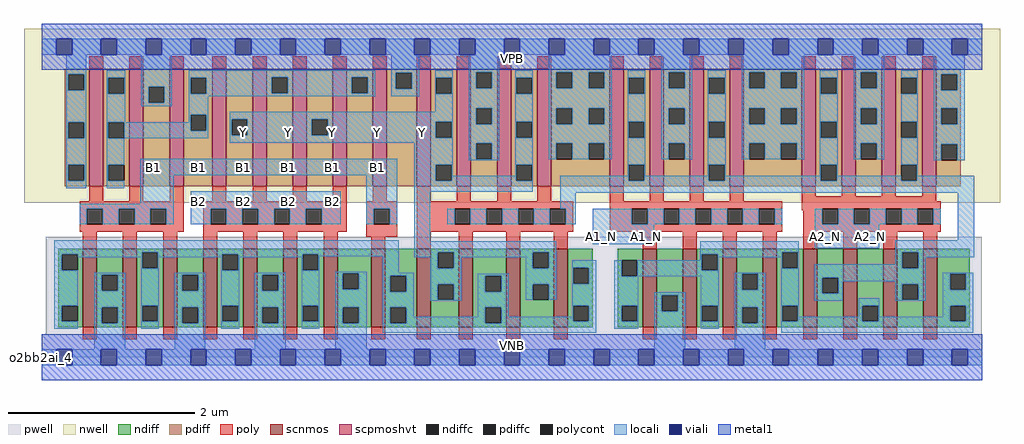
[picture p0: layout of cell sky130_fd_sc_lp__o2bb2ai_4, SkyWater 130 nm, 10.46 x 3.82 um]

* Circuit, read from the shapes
.subckt sky130_fd_sc_lp__o2bb2ai_4 A1_N A2_N B1 B2 VGND VNB VPB VPWR Y
XM1 VGND B1 n1 VNB sky130_fd_pr__nfet_01v8 w=0.84 l=0.15 m=4
XM2 n1 B2 VGND VNB sky130_fd_pr__nfet_01v8 w=0.84 l=0.15 m=4
XM3 Y n2 n1 VNB sky130_fd_pr__nfet_01v8 w=0.84 l=0.15 m=4
XM4 VGND A1_N n3 VNB sky130_fd_pr__nfet_01v8 w=0.84 l=0.15 m=4
XM5 n2 A2_N n3 VNB sky130_fd_pr__nfet_01v8 w=0.84 l=0.15 m=4
XM6 n4 B1 VPWR VPB sky130_fd_pr__pfet_01v8_hvt w=1.26 l=0.15 m=4
XM7 Y B2 n4 VPB sky130_fd_pr__pfet_01v8_hvt w=1.26 l=0.15 m=4
XM8 Y n2 VPWR VPB sky130_fd_pr__pfet_01v8_hvt w=1.26 l=0.15 m=4
XM9 n2 A1_N VPWR VPB sky130_fd_pr__pfet_01v8_hvt w=1.26 l=0.15 m=4
XM10 n2 A2_N VPWR VPB sky130_fd_pr__pfet_01v8_hvt w=1.26 l=0.15 m=4
.ends

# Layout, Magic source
magic
tech sky130A
magscale 1 2
<< nwell >>
rect -38 331 2054 704
<< pwell >>
rect 9 49 2015 259
rect 0 0 2016 49
<< scnmos >>
rect 88 65 118 233
rect 174 65 204 233
rect 260 65 290 233
rect 346 65 376 233
rect 432 65 462 233
rect 518 65 548 233
rect 604 65 634 233
rect 706 65 736 233
rect 804 65 834 233
rect 894 65 924 233
rect 996 65 1026 233
rect 1098 65 1128 233
rect 1288 65 1318 233
rect 1374 65 1404 233
rect 1460 65 1490 233
rect 1546 65 1576 233
rect 1632 65 1662 233
rect 1718 65 1748 233
rect 1804 65 1834 233
rect 1890 65 1920 233
<< scpmoshvt >>
rect 102 367 132 619
rect 188 367 218 619
rect 274 367 304 619
rect 366 367 396 619
rect 452 367 482 619
rect 538 367 568 619
rect 624 367 654 619
rect 710 367 740 619
rect 804 367 834 619
rect 890 367 920 619
rect 976 367 1006 619
rect 1062 367 1092 619
rect 1217 367 1247 619
rect 1303 367 1333 619
rect 1389 367 1419 619
rect 1475 367 1505 619
rect 1629 367 1659 619
rect 1715 367 1745 619
rect 1801 367 1831 619
rect 1887 367 1917 619
<< ndiff >>
rect 35 221 88 233
rect 35 187 43 221
rect 77 187 88 221
rect 35 111 88 187
rect 35 77 43 111
rect 77 77 88 111
rect 35 65 88 77
rect 118 177 174 233
rect 118 143 129 177
rect 163 143 174 177
rect 118 107 174 143
rect 118 73 129 107
rect 163 73 174 107
rect 118 65 174 73
rect 204 225 260 233
rect 204 191 215 225
rect 249 191 260 225
rect 204 111 260 191
rect 204 77 215 111
rect 249 77 260 111
rect 204 65 260 77
rect 290 177 346 233
rect 290 143 301 177
rect 335 143 346 177
rect 290 107 346 143
rect 290 73 301 107
rect 335 73 346 107
rect 290 65 346 73
rect 376 221 432 233
rect 376 187 387 221
rect 421 187 432 221
rect 376 111 432 187
rect 376 77 387 111
rect 421 77 432 111
rect 376 65 432 77
rect 462 177 518 233
rect 462 143 473 177
rect 507 143 518 177
rect 462 107 518 143
rect 462 73 473 107
rect 507 73 518 107
rect 462 65 518 73
rect 548 221 604 233
rect 548 187 559 221
rect 593 187 604 221
rect 548 111 604 187
rect 548 77 559 111
rect 593 77 604 111
rect 548 65 604 77
rect 634 180 706 233
rect 634 146 645 180
rect 679 146 706 180
rect 634 107 706 146
rect 634 73 645 107
rect 679 73 706 107
rect 634 65 706 73
rect 736 175 804 233
rect 736 141 747 175
rect 781 141 804 175
rect 736 107 804 141
rect 736 73 747 107
rect 781 73 804 107
rect 736 65 804 73
rect 834 225 894 233
rect 834 191 849 225
rect 883 191 894 225
rect 834 157 894 191
rect 834 123 849 157
rect 883 123 894 157
rect 834 65 894 123
rect 924 175 996 233
rect 924 141 951 175
rect 985 141 996 175
rect 924 107 996 141
rect 924 73 951 107
rect 985 73 996 107
rect 924 65 996 73
rect 1026 225 1098 233
rect 1026 191 1053 225
rect 1087 191 1098 225
rect 1026 157 1098 191
rect 1026 123 1053 157
rect 1087 123 1098 157
rect 1026 65 1098 123
rect 1128 192 1181 233
rect 1128 158 1139 192
rect 1173 158 1181 192
rect 1128 111 1181 158
rect 1128 77 1139 111
rect 1173 77 1181 111
rect 1128 65 1181 77
rect 1235 208 1288 233
rect 1235 174 1243 208
rect 1277 174 1288 208
rect 1235 111 1288 174
rect 1235 77 1243 111
rect 1277 77 1288 111
rect 1235 65 1288 77
rect 1318 133 1374 233
rect 1318 99 1329 133
rect 1363 99 1374 133
rect 1318 65 1374 99
rect 1404 221 1460 233
rect 1404 187 1415 221
rect 1449 187 1460 221
rect 1404 111 1460 187
rect 1404 77 1415 111
rect 1449 77 1460 111
rect 1404 65 1460 77
rect 1490 179 1546 233
rect 1490 145 1501 179
rect 1535 145 1546 179
rect 1490 107 1546 145
rect 1490 73 1501 107
rect 1535 73 1546 107
rect 1490 65 1546 73
rect 1576 225 1632 233
rect 1576 191 1587 225
rect 1621 191 1632 225
rect 1576 111 1632 191
rect 1576 77 1587 111
rect 1621 77 1632 111
rect 1576 65 1632 77
rect 1662 171 1718 233
rect 1662 137 1673 171
rect 1707 137 1718 171
rect 1662 65 1718 137
rect 1748 111 1804 233
rect 1748 77 1759 111
rect 1793 77 1804 111
rect 1748 65 1804 77
rect 1834 225 1890 233
rect 1834 191 1845 225
rect 1879 191 1890 225
rect 1834 157 1890 191
rect 1834 123 1845 157
rect 1879 123 1890 157
rect 1834 65 1890 123
rect 1920 179 1989 233
rect 1920 145 1947 179
rect 1981 145 1989 179
rect 1920 111 1989 145
rect 1920 77 1947 111
rect 1981 77 1989 111
rect 1920 65 1989 77
<< pdiff >>
rect 49 607 102 619
rect 49 573 57 607
rect 91 573 102 607
rect 49 504 102 573
rect 49 470 57 504
rect 91 470 102 504
rect 49 413 102 470
rect 49 379 57 413
rect 91 379 102 413
rect 49 367 102 379
rect 132 599 188 619
rect 132 565 143 599
rect 177 565 188 599
rect 132 504 188 565
rect 132 470 143 504
rect 177 470 188 504
rect 132 413 188 470
rect 132 379 143 413
rect 177 379 188 413
rect 132 367 188 379
rect 218 580 274 619
rect 218 546 229 580
rect 263 546 274 580
rect 218 367 274 546
rect 304 599 366 619
rect 304 565 319 599
rect 353 565 366 599
rect 304 520 366 565
rect 304 486 319 520
rect 353 486 366 520
rect 304 367 366 486
rect 396 510 452 619
rect 396 476 407 510
rect 441 476 452 510
rect 396 367 452 476
rect 482 600 538 619
rect 482 566 493 600
rect 527 566 538 600
rect 482 367 538 566
rect 568 510 624 619
rect 568 476 579 510
rect 613 476 624 510
rect 568 367 624 476
rect 654 600 710 619
rect 654 566 665 600
rect 699 566 710 600
rect 654 367 710 566
rect 740 610 804 619
rect 740 576 759 610
rect 793 576 804 610
rect 740 367 804 576
rect 834 599 890 619
rect 834 565 845 599
rect 879 565 890 599
rect 834 505 890 565
rect 834 471 845 505
rect 879 471 890 505
rect 834 413 890 471
rect 834 379 845 413
rect 879 379 890 413
rect 834 367 890 379
rect 920 611 976 619
rect 920 577 931 611
rect 965 577 976 611
rect 920 534 976 577
rect 920 500 931 534
rect 965 500 976 534
rect 920 459 976 500
rect 920 425 931 459
rect 965 425 976 459
rect 920 367 976 425
rect 1006 599 1062 619
rect 1006 565 1017 599
rect 1051 565 1062 599
rect 1006 505 1062 565
rect 1006 471 1017 505
rect 1051 471 1062 505
rect 1006 413 1062 471
rect 1006 379 1017 413
rect 1051 379 1062 413
rect 1006 367 1062 379
rect 1092 611 1217 619
rect 1092 577 1103 611
rect 1137 577 1172 611
rect 1206 577 1217 611
rect 1092 534 1217 577
rect 1092 500 1103 534
rect 1137 500 1172 534
rect 1206 500 1217 534
rect 1092 459 1217 500
rect 1092 425 1103 459
rect 1137 425 1172 459
rect 1206 425 1217 459
rect 1092 367 1217 425
rect 1247 599 1303 619
rect 1247 565 1258 599
rect 1292 565 1303 599
rect 1247 505 1303 565
rect 1247 471 1258 505
rect 1292 471 1303 505
rect 1247 413 1303 471
rect 1247 379 1258 413
rect 1292 379 1303 413
rect 1247 367 1303 379
rect 1333 611 1389 619
rect 1333 577 1344 611
rect 1378 577 1389 611
rect 1333 534 1389 577
rect 1333 500 1344 534
rect 1378 500 1389 534
rect 1333 459 1389 500
rect 1333 425 1344 459
rect 1378 425 1389 459
rect 1333 367 1389 425
rect 1419 599 1475 619
rect 1419 565 1430 599
rect 1464 565 1475 599
rect 1419 505 1475 565
rect 1419 471 1430 505
rect 1464 471 1475 505
rect 1419 413 1475 471
rect 1419 379 1430 413
rect 1464 379 1475 413
rect 1419 367 1475 379
rect 1505 611 1629 619
rect 1505 577 1516 611
rect 1550 577 1584 611
rect 1618 577 1629 611
rect 1505 534 1629 577
rect 1505 500 1516 534
rect 1550 500 1584 534
rect 1618 500 1629 534
rect 1505 459 1629 500
rect 1505 425 1516 459
rect 1550 425 1584 459
rect 1618 425 1629 459
rect 1505 367 1629 425
rect 1659 599 1715 619
rect 1659 565 1670 599
rect 1704 565 1715 599
rect 1659 505 1715 565
rect 1659 471 1670 505
rect 1704 471 1715 505
rect 1659 413 1715 471
rect 1659 379 1670 413
rect 1704 379 1715 413
rect 1659 367 1715 379
rect 1745 611 1801 619
rect 1745 577 1756 611
rect 1790 577 1801 611
rect 1745 534 1801 577
rect 1745 500 1756 534
rect 1790 500 1801 534
rect 1745 459 1801 500
rect 1745 425 1756 459
rect 1790 425 1801 459
rect 1745 367 1801 425
rect 1831 599 1887 619
rect 1831 565 1842 599
rect 1876 565 1887 599
rect 1831 505 1887 565
rect 1831 471 1842 505
rect 1876 471 1887 505
rect 1831 413 1887 471
rect 1831 379 1842 413
rect 1876 379 1887 413
rect 1831 367 1887 379
rect 1917 607 1970 619
rect 1917 573 1928 607
rect 1962 573 1970 607
rect 1917 534 1970 573
rect 1917 500 1928 534
rect 1962 500 1970 534
rect 1917 457 1970 500
rect 1917 423 1928 457
rect 1962 423 1970 457
rect 1917 367 1970 423
<< ndiffc >>
rect 43 187 77 221
rect 43 77 77 111
rect 129 143 163 177
rect 129 73 163 107
rect 215 191 249 225
rect 215 77 249 111
rect 301 143 335 177
rect 301 73 335 107
rect 387 187 421 221
rect 387 77 421 111
rect 473 143 507 177
rect 473 73 507 107
rect 559 187 593 221
rect 559 77 593 111
rect 645 146 679 180
rect 645 73 679 107
rect 747 141 781 175
rect 747 73 781 107
rect 849 191 883 225
rect 849 123 883 157
rect 951 141 985 175
rect 951 73 985 107
rect 1053 191 1087 225
rect 1053 123 1087 157
rect 1139 158 1173 192
rect 1139 77 1173 111
rect 1243 174 1277 208
rect 1243 77 1277 111
rect 1329 99 1363 133
rect 1415 187 1449 221
rect 1415 77 1449 111
rect 1501 145 1535 179
rect 1501 73 1535 107
rect 1587 191 1621 225
rect 1587 77 1621 111
rect 1673 137 1707 171
rect 1759 77 1793 111
rect 1845 191 1879 225
rect 1845 123 1879 157
rect 1947 145 1981 179
rect 1947 77 1981 111
<< pdiffc >>
rect 57 573 91 607
rect 57 470 91 504
rect 57 379 91 413
rect 143 565 177 599
rect 143 470 177 504
rect 143 379 177 413
rect 229 546 263 580
rect 319 565 353 599
rect 319 486 353 520
rect 407 476 441 510
rect 493 566 527 600
rect 579 476 613 510
rect 665 566 699 600
rect 759 576 793 610
rect 845 565 879 599
rect 845 471 879 505
rect 845 379 879 413
rect 931 577 965 611
rect 931 500 965 534
rect 931 425 965 459
rect 1017 565 1051 599
rect 1017 471 1051 505
rect 1017 379 1051 413
rect 1103 577 1137 611
rect 1172 577 1206 611
rect 1103 500 1137 534
rect 1172 500 1206 534
rect 1103 425 1137 459
rect 1172 425 1206 459
rect 1258 565 1292 599
rect 1258 471 1292 505
rect 1258 379 1292 413
rect 1344 577 1378 611
rect 1344 500 1378 534
rect 1344 425 1378 459
rect 1430 565 1464 599
rect 1430 471 1464 505
rect 1430 379 1464 413
rect 1516 577 1550 611
rect 1584 577 1618 611
rect 1516 500 1550 534
rect 1584 500 1618 534
rect 1516 425 1550 459
rect 1584 425 1618 459
rect 1670 565 1704 599
rect 1670 471 1704 505
rect 1670 379 1704 413
rect 1756 577 1790 611
rect 1756 500 1790 534
rect 1756 425 1790 459
rect 1842 565 1876 599
rect 1842 471 1876 505
rect 1842 379 1876 413
rect 1928 573 1962 607
rect 1928 500 1962 534
rect 1928 423 1962 457
<< poly >>
rect 102 619 132 645
rect 188 619 218 645
rect 274 619 304 645
rect 366 619 396 645
rect 452 619 482 645
rect 538 619 568 645
rect 624 619 654 645
rect 710 619 740 645
rect 804 619 834 645
rect 890 619 920 645
rect 976 619 1006 645
rect 1062 619 1092 645
rect 1217 619 1247 645
rect 1303 619 1333 645
rect 1389 619 1419 645
rect 1475 619 1505 645
rect 1629 619 1659 645
rect 1715 619 1745 645
rect 1801 619 1831 645
rect 1887 619 1917 645
rect 102 335 132 367
rect 188 335 218 367
rect 274 335 304 367
rect 366 335 396 367
rect 452 335 482 367
rect 538 335 568 367
rect 624 335 654 367
rect 710 335 740 367
rect 804 335 834 367
rect 890 335 920 367
rect 976 335 1006 367
rect 1062 335 1092 367
rect 1217 335 1247 367
rect 1303 335 1333 367
rect 1389 335 1419 367
rect 1475 335 1505 367
rect 1629 345 1659 367
rect 1715 345 1745 367
rect 1801 345 1831 367
rect 1887 345 1917 367
rect 1629 335 1917 345
rect 81 319 304 335
rect 81 285 97 319
rect 131 285 165 319
rect 199 285 233 319
rect 267 285 304 319
rect 81 269 304 285
rect 346 319 654 335
rect 346 285 362 319
rect 396 285 430 319
rect 464 285 498 319
rect 532 285 566 319
rect 600 285 654 319
rect 346 269 654 285
rect 696 319 762 335
rect 696 285 712 319
rect 746 285 762 319
rect 88 233 118 269
rect 174 233 204 269
rect 260 233 290 269
rect 346 233 376 269
rect 432 233 462 269
rect 518 233 548 269
rect 604 233 634 269
rect 696 259 762 285
rect 804 319 1139 335
rect 804 285 885 319
rect 919 285 953 319
rect 987 285 1021 319
rect 1055 285 1089 319
rect 1123 285 1139 319
rect 804 269 1139 285
rect 1217 319 1587 335
rect 1217 285 1265 319
rect 1299 285 1333 319
rect 1367 285 1401 319
rect 1435 285 1469 319
rect 1503 285 1537 319
rect 1571 285 1587 319
rect 1629 319 1927 335
rect 1629 315 1673 319
rect 1217 269 1587 285
rect 1632 285 1673 315
rect 1707 285 1741 319
rect 1775 285 1809 319
rect 1843 285 1877 319
rect 1911 285 1927 319
rect 1632 269 1927 285
rect 706 233 736 259
rect 804 233 834 269
rect 894 233 924 269
rect 996 233 1026 269
rect 1098 233 1128 269
rect 1288 233 1318 269
rect 1374 233 1404 269
rect 1460 233 1490 269
rect 1546 233 1576 269
rect 1632 233 1662 269
rect 1718 233 1748 269
rect 1804 233 1834 269
rect 1890 233 1920 269
rect 88 39 118 65
rect 174 39 204 65
rect 260 39 290 65
rect 346 39 376 65
rect 432 39 462 65
rect 518 39 548 65
rect 604 39 634 65
rect 706 39 736 65
rect 804 39 834 65
rect 894 39 924 65
rect 996 39 1026 65
rect 1098 39 1128 65
rect 1288 39 1318 65
rect 1374 39 1404 65
rect 1460 39 1490 65
rect 1546 39 1576 65
rect 1632 39 1662 65
rect 1718 39 1748 65
rect 1804 39 1834 65
rect 1890 39 1920 65
<< polycont >>
rect 97 285 131 319
rect 165 285 199 319
rect 233 285 267 319
rect 362 285 396 319
rect 430 285 464 319
rect 498 285 532 319
rect 566 285 600 319
rect 712 285 746 319
rect 885 285 919 319
rect 953 285 987 319
rect 1021 285 1055 319
rect 1089 285 1123 319
rect 1265 285 1299 319
rect 1333 285 1367 319
rect 1401 285 1435 319
rect 1469 285 1503 319
rect 1537 285 1571 319
rect 1673 285 1707 319
rect 1741 285 1775 319
rect 1809 285 1843 319
rect 1877 285 1911 319
<< locali >>
rect 0 649 31 683
rect 65 649 127 683
rect 161 649 223 683
rect 257 649 319 683
rect 353 649 415 683
rect 449 649 511 683
rect 545 649 607 683
rect 641 649 703 683
rect 737 649 799 683
rect 833 649 895 683
rect 929 649 991 683
rect 1025 649 1087 683
rect 1121 649 1183 683
rect 1217 649 1279 683
rect 1313 649 1375 683
rect 1409 649 1471 683
rect 1505 649 1567 683
rect 1601 649 1663 683
rect 1697 649 1759 683
rect 1793 649 1855 683
rect 1889 649 1951 683
rect 1985 649 2016 683
rect 53 607 95 649
rect 53 573 57 607
rect 91 573 95 607
rect 53 504 95 573
rect 53 470 57 504
rect 91 470 95 504
rect 53 413 95 470
rect 53 379 57 413
rect 91 379 95 413
rect 53 363 95 379
rect 139 599 179 615
rect 139 565 143 599
rect 177 565 179 599
rect 139 504 179 565
rect 213 580 279 649
rect 213 546 229 580
rect 263 546 279 580
rect 213 538 279 546
rect 315 600 715 615
rect 315 599 493 600
rect 315 565 319 599
rect 353 566 493 599
rect 527 566 665 600
rect 699 566 715 600
rect 353 565 715 566
rect 315 560 715 565
rect 749 610 809 649
rect 749 576 759 610
rect 793 576 809 610
rect 749 560 809 576
rect 843 599 881 615
rect 843 565 845 599
rect 879 565 881 599
rect 315 520 357 560
rect 843 526 881 565
rect 315 504 319 520
rect 139 470 143 504
rect 177 486 319 504
rect 353 486 357 520
rect 177 470 357 486
rect 403 510 881 526
rect 403 476 407 510
rect 441 476 579 510
rect 613 505 881 510
rect 613 476 845 505
rect 403 471 845 476
rect 879 471 881 505
rect 139 413 177 470
rect 403 460 881 471
rect 139 379 143 413
rect 139 363 177 379
rect 211 390 762 426
rect 211 329 283 390
rect 81 319 283 329
rect 81 285 97 319
rect 131 285 165 319
rect 199 285 233 319
rect 267 285 283 319
rect 319 319 641 356
rect 319 285 362 319
rect 396 285 430 319
rect 464 285 498 319
rect 532 285 566 319
rect 600 285 641 319
rect 696 319 762 390
rect 696 285 712 319
rect 746 285 762 319
rect 799 413 881 460
rect 915 611 981 649
rect 915 577 931 611
rect 965 577 981 611
rect 915 534 981 577
rect 915 500 931 534
rect 965 500 981 534
rect 915 459 981 500
rect 915 425 931 459
rect 965 425 981 459
rect 915 423 981 425
rect 1015 599 1053 615
rect 1015 565 1017 599
rect 1051 565 1053 599
rect 1015 505 1053 565
rect 1015 471 1017 505
rect 1051 471 1053 505
rect 799 379 845 413
rect 879 389 881 413
rect 1015 413 1053 471
rect 1087 611 1222 649
rect 1087 577 1103 611
rect 1137 577 1172 611
rect 1206 577 1222 611
rect 1087 534 1222 577
rect 1087 500 1103 534
rect 1137 500 1172 534
rect 1206 500 1222 534
rect 1087 459 1222 500
rect 1087 425 1103 459
rect 1137 425 1172 459
rect 1206 425 1222 459
rect 1256 599 1294 615
rect 1256 565 1258 599
rect 1292 565 1294 599
rect 1256 505 1294 565
rect 1256 471 1258 505
rect 1292 471 1294 505
rect 1015 389 1017 413
rect 879 379 1017 389
rect 1051 379 1053 413
rect 1256 413 1294 471
rect 1328 611 1394 649
rect 1328 577 1344 611
rect 1378 577 1394 611
rect 1328 534 1394 577
rect 1328 500 1344 534
rect 1378 500 1394 534
rect 1328 459 1394 500
rect 1328 425 1344 459
rect 1378 425 1394 459
rect 1428 599 1466 615
rect 1428 565 1430 599
rect 1464 565 1466 599
rect 1428 505 1466 565
rect 1428 471 1430 505
rect 1464 471 1466 505
rect 1256 389 1258 413
rect 799 355 1053 379
rect 1111 379 1258 389
rect 1292 389 1294 413
rect 1428 413 1466 471
rect 1500 611 1634 649
rect 1500 577 1516 611
rect 1550 577 1584 611
rect 1618 577 1634 611
rect 1500 534 1634 577
rect 1500 500 1516 534
rect 1550 500 1584 534
rect 1618 500 1634 534
rect 1500 459 1634 500
rect 1500 425 1516 459
rect 1550 425 1584 459
rect 1618 425 1634 459
rect 1668 599 1706 615
rect 1668 565 1670 599
rect 1704 565 1706 599
rect 1668 505 1706 565
rect 1668 471 1670 505
rect 1704 471 1706 505
rect 1428 389 1430 413
rect 1292 379 1430 389
rect 1464 389 1466 413
rect 1668 413 1706 471
rect 1740 611 1806 649
rect 1740 577 1756 611
rect 1790 577 1806 611
rect 1740 534 1806 577
rect 1740 500 1756 534
rect 1790 500 1806 534
rect 1740 459 1806 500
rect 1740 425 1756 459
rect 1790 425 1806 459
rect 1842 599 1878 615
rect 1876 565 1878 599
rect 1842 505 1878 565
rect 1876 471 1878 505
rect 1668 389 1670 413
rect 1464 379 1670 389
rect 1704 389 1706 413
rect 1842 413 1878 471
rect 1912 607 1978 649
rect 1912 573 1928 607
rect 1962 573 1978 607
rect 1912 534 1978 573
rect 1912 500 1928 534
rect 1962 500 1978 534
rect 1912 457 1978 500
rect 1912 423 1928 457
rect 1962 423 1978 457
rect 1704 379 1842 389
rect 1876 389 1878 413
rect 1876 379 1999 389
rect 27 225 765 251
rect 27 221 215 225
rect 27 187 43 221
rect 77 215 215 221
rect 27 111 77 187
rect 213 191 215 215
rect 249 221 765 225
rect 249 215 387 221
rect 249 191 251 215
rect 27 77 43 111
rect 27 61 77 77
rect 113 177 179 181
rect 113 143 129 177
rect 163 143 179 177
rect 113 107 179 143
rect 113 73 129 107
rect 163 73 179 107
rect 113 17 179 73
rect 213 111 251 191
rect 385 187 387 215
rect 421 215 559 221
rect 421 187 423 215
rect 213 77 215 111
rect 249 77 251 111
rect 213 61 251 77
rect 285 177 351 181
rect 285 143 301 177
rect 335 143 351 177
rect 285 107 351 143
rect 285 73 301 107
rect 335 73 351 107
rect 285 17 351 73
rect 385 111 423 187
rect 557 187 559 215
rect 593 217 765 221
rect 593 187 595 217
rect 385 77 387 111
rect 421 77 423 111
rect 385 61 423 77
rect 457 177 523 181
rect 457 143 473 177
rect 507 143 523 177
rect 457 107 523 143
rect 457 73 473 107
rect 507 73 523 107
rect 457 17 523 73
rect 557 111 595 187
rect 557 77 559 111
rect 593 77 595 111
rect 557 61 595 77
rect 629 180 697 183
rect 629 146 645 180
rect 679 146 697 180
rect 629 107 697 146
rect 629 73 645 107
rect 679 73 697 107
rect 629 17 697 73
rect 731 181 765 217
rect 799 249 833 355
rect 1111 353 1999 379
rect 1111 319 1145 353
rect 869 285 885 319
rect 919 285 953 319
rect 987 285 1021 319
rect 1055 285 1089 319
rect 1123 285 1145 319
rect 1181 285 1265 319
rect 1299 285 1333 319
rect 1367 285 1401 319
rect 1435 285 1469 319
rect 1503 285 1537 319
rect 1571 285 1587 319
rect 1657 285 1673 319
rect 1707 285 1741 319
rect 1775 285 1809 319
rect 1843 285 1877 319
rect 1911 285 1927 319
rect 799 225 1103 249
rect 1181 242 1313 285
rect 799 215 849 225
rect 833 191 849 215
rect 883 215 1053 225
rect 883 191 899 215
rect 731 175 797 181
rect 731 141 747 175
rect 781 141 797 175
rect 731 107 797 141
rect 833 157 899 191
rect 1037 191 1053 215
rect 1087 191 1103 225
rect 1411 225 1623 249
rect 1657 234 1795 285
rect 1963 251 1999 353
rect 1411 221 1587 225
rect 1411 208 1415 221
rect 833 123 849 157
rect 883 123 899 157
rect 833 121 899 123
rect 935 175 1001 179
rect 935 141 951 175
rect 985 141 1001 175
rect 731 73 747 107
rect 781 87 797 107
rect 935 107 1001 141
rect 1037 157 1103 191
rect 1037 123 1053 157
rect 1087 123 1103 157
rect 1137 192 1189 208
rect 1137 158 1139 192
rect 1173 158 1189 192
rect 935 87 951 107
rect 781 73 951 87
rect 985 87 1001 107
rect 1137 111 1189 158
rect 1137 87 1139 111
rect 985 77 1139 87
rect 1173 77 1189 111
rect 985 73 1189 77
rect 731 53 1189 73
rect 1227 174 1243 208
rect 1277 187 1415 208
rect 1449 215 1587 221
rect 1449 187 1451 215
rect 1277 174 1451 187
rect 1585 191 1587 215
rect 1621 191 1623 225
rect 1829 225 1999 251
rect 1829 200 1845 225
rect 1227 111 1279 174
rect 1227 77 1243 111
rect 1277 77 1279 111
rect 1227 61 1279 77
rect 1313 133 1379 140
rect 1313 99 1329 133
rect 1363 99 1379 133
rect 1313 17 1379 99
rect 1413 111 1451 174
rect 1413 77 1415 111
rect 1449 77 1451 111
rect 1413 61 1451 77
rect 1485 179 1551 181
rect 1485 145 1501 179
rect 1535 145 1551 179
rect 1485 107 1551 145
rect 1485 73 1501 107
rect 1535 73 1551 107
rect 1485 17 1551 73
rect 1585 111 1623 191
rect 1657 191 1845 200
rect 1879 215 1999 225
rect 1879 191 1895 215
rect 1657 171 1895 191
rect 1657 137 1673 171
rect 1707 163 1895 171
rect 1707 137 1717 163
rect 1657 121 1717 137
rect 1829 157 1895 163
rect 1585 77 1587 111
rect 1621 87 1623 111
rect 1751 111 1795 127
rect 1829 123 1845 157
rect 1879 123 1895 157
rect 1829 121 1895 123
rect 1931 179 1997 181
rect 1931 145 1947 179
rect 1981 145 1997 179
rect 1751 87 1759 111
rect 1621 77 1759 87
rect 1793 87 1795 111
rect 1931 111 1997 145
rect 1931 87 1947 111
rect 1793 77 1947 87
rect 1981 77 1997 111
rect 1585 53 1997 77
rect 0 -17 31 17
rect 65 -17 127 17
rect 161 -17 223 17
rect 257 -17 319 17
rect 353 -17 415 17
rect 449 -17 511 17
rect 545 -17 607 17
rect 641 -17 703 17
rect 737 -17 799 17
rect 833 -17 895 17
rect 929 -17 991 17
rect 1025 -17 1087 17
rect 1121 -17 1183 17
rect 1217 -17 1279 17
rect 1313 -17 1375 17
rect 1409 -17 1471 17
rect 1505 -17 1567 17
rect 1601 -17 1663 17
rect 1697 -17 1759 17
rect 1793 -17 1855 17
rect 1889 -17 1951 17
rect 1985 -17 2016 17
<< viali >>
rect 31 649 65 683
rect 127 649 161 683
rect 223 649 257 683
rect 319 649 353 683
rect 415 649 449 683
rect 511 649 545 683
rect 607 649 641 683
rect 703 649 737 683
rect 799 649 833 683
rect 895 649 929 683
rect 991 649 1025 683
rect 1087 649 1121 683
rect 1183 649 1217 683
rect 1279 649 1313 683
rect 1375 649 1409 683
rect 1471 649 1505 683
rect 1567 649 1601 683
rect 1663 649 1697 683
rect 1759 649 1793 683
rect 1855 649 1889 683
rect 1951 649 1985 683
rect 31 -17 65 17
rect 127 -17 161 17
rect 223 -17 257 17
rect 319 -17 353 17
rect 415 -17 449 17
rect 511 -17 545 17
rect 607 -17 641 17
rect 703 -17 737 17
rect 799 -17 833 17
rect 895 -17 929 17
rect 991 -17 1025 17
rect 1087 -17 1121 17
rect 1183 -17 1217 17
rect 1279 -17 1313 17
rect 1375 -17 1409 17
rect 1471 -17 1505 17
rect 1567 -17 1601 17
rect 1663 -17 1697 17
rect 1759 -17 1793 17
rect 1855 -17 1889 17
rect 1951 -17 1985 17
<< metal1 >>
rect 0 683 2016 715
rect 0 649 31 683
rect 65 649 127 683
rect 161 649 223 683
rect 257 649 319 683
rect 353 649 415 683
rect 449 649 511 683
rect 545 649 607 683
rect 641 649 703 683
rect 737 649 799 683
rect 833 649 895 683
rect 929 649 991 683
rect 1025 649 1087 683
rect 1121 649 1183 683
rect 1217 649 1279 683
rect 1313 649 1375 683
rect 1409 649 1471 683
rect 1505 649 1567 683
rect 1601 649 1663 683
rect 1697 649 1759 683
rect 1793 649 1855 683
rect 1889 649 1951 683
rect 1985 649 2016 683
rect 0 617 2016 649
rect 0 17 2016 49
rect 0 -17 31 17
rect 65 -17 127 17
rect 161 -17 223 17
rect 257 -17 319 17
rect 353 -17 415 17
rect 449 -17 511 17
rect 545 -17 607 17
rect 641 -17 703 17
rect 737 -17 799 17
rect 833 -17 895 17
rect 929 -17 991 17
rect 1025 -17 1087 17
rect 1121 -17 1183 17
rect 1217 -17 1279 17
rect 1313 -17 1375 17
rect 1409 -17 1471 17
rect 1505 -17 1567 17
rect 1601 -17 1663 17
rect 1697 -17 1759 17
rect 1793 -17 1855 17
rect 1889 -17 1951 17
rect 1985 -17 2016 17
rect 0 -49 2016 -17
<< labels >>
flabel pwell s 0 0 2016 49 0 FreeSans 200 0 0 0 VNB
port 6 nsew ground bidirectional
flabel nwell s 0 617 2016 666 0 FreeSans 200 0 0 0 VPB
port 7 nsew power bidirectional
rlabel comment s 0 0 0 0 4 o2bb2ai_4
flabel metal1 s 0 617 2016 666 0 FreeSans 340 0 0 0 VPWR
port 8 nsew power bidirectional
flabel metal1 s 0 0 2016 49 0 FreeSans 340 0 0 0 VGND
port 5 nsew ground bidirectional
flabel locali s 1183 242 1217 276 0 FreeSans 340 0 0 0 A1_N
port 1 nsew signal input
flabel locali s 1279 242 1313 276 0 FreeSans 340 0 0 0 A1_N
port 1 nsew signal input
flabel locali s 1663 242 1697 276 0 FreeSans 340 0 0 0 A2_N
port 2 nsew signal input
flabel locali s 1759 242 1793 276 0 FreeSans 340 0 0 0 A2_N
port 2 nsew signal input
flabel locali s 223 390 257 424 0 FreeSans 340 0 0 0 B1
port 3 nsew signal input
flabel locali s 319 390 353 424 0 FreeSans 340 0 0 0 B1
port 3 nsew signal input
flabel locali s 415 390 449 424 0 FreeSans 340 0 0 0 B1
port 3 nsew signal input
flabel locali s 511 390 545 424 0 FreeSans 340 0 0 0 B1
port 3 nsew signal input
flabel locali s 607 390 641 424 0 FreeSans 340 0 0 0 B1
port 3 nsew signal input
flabel locali s 703 390 737 424 0 FreeSans 340 0 0 0 B1
port 3 nsew signal input
flabel locali s 415 464 449 498 0 FreeSans 340 0 0 0 Y
port 9 nsew signal output
flabel locali s 511 464 545 498 0 FreeSans 340 0 0 0 Y
port 9 nsew signal output
flabel locali s 607 464 641 498 0 FreeSans 340 0 0 0 Y
port 9 nsew signal output
flabel locali s 703 464 737 498 0 FreeSans 340 0 0 0 Y
port 9 nsew signal output
flabel locali s 799 464 833 498 0 FreeSans 340 0 0 0 Y
port 9 nsew signal output
flabel locali s 319 316 353 350 0 FreeSans 340 0 0 0 B2
port 4 nsew signal input
flabel locali s 415 316 449 350 0 FreeSans 340 0 0 0 B2
port 4 nsew signal input
flabel locali s 511 316 545 350 0 FreeSans 340 0 0 0 B2
port 4 nsew signal input
flabel locali s 607 316 641 350 0 FreeSans 340 0 0 0 B2
port 4 nsew signal input
<< properties >>
string LEFsite unit
string LEFclass CORE
string FIXED_BBOX 0 0 2016 666
string GDS_FILE $PDKPATH/libs.ref/sky130_fd_sc_lp/gds/sky130_fd_sc_lp.gds
string LEFsymmetry X Y R90
string GDS_END 4108062
string GDS_START 4090412
<< end >>
